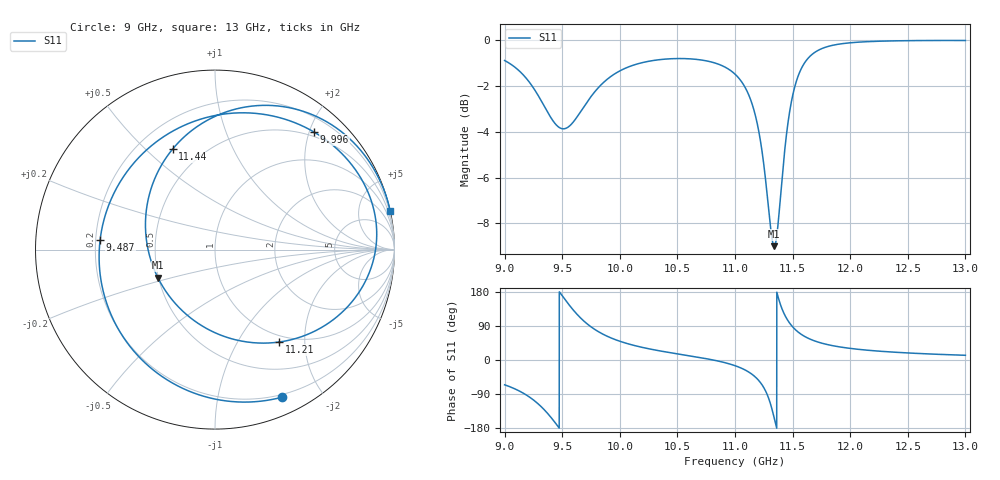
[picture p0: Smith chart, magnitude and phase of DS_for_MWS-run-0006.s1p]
! TOUCHSTONE file generated by CST DESIGN STUDIO
! Date and time: Tue Feb  4 17:41:40 2025
! Project name: C:\Work\MatlabApps\UnitCellOptimizationMatlab\CST\unitcell.cst
! Tree item: Tasks\Sweep1\SPara1\S-Parameters
! Header version: 2024
! Port assignment regex: !\s*Touchstone port\s*([0-9]+)\s*=\s*(CST MWS port|CST DES external port|CST DES block port)\s*(.+)\s* \(\"(.*)\"\)(\s*mode\s*([0-9]+))?.*
! Touchstone port assignment:
! Touchstone port 1 = CST DES external port 1 ("")
# GHz S MA R 50
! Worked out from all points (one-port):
!   4001 points, 9 GHz to 13 GHz, reference 50 ohm
!   lowest |S11| = -9.0 dB at 11.34 GHz (marker M1), VSWR 2.10, Z = 24.8 - j8.88 ohm
!   |S11| at or under -10 dB: nowhere
!   S11 on the Smith chart (normalised r, x): 9 GHz: 0.17, -1.54; 9.487 GHz: 0.22, +0.04; 9.996 GHz: 0.42, +2.08; 11.21 GHz: 0.90, -1.52; 11.44 GHz: 0.34, +0.61; 13 GHz: 0.03, +9.18
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9  0.9036 -65.4
9.156  0.8434 -86.5
9.268  0.7745 -109.7
9.394  0.6825 -148.3
9.487  0.6423 175.0
9.5  0.6408 169.6
9.606  0.6676 128.4
9.705  0.7263 98.3
9.849  0.8046 68.9
9.996  0.8564 49.9
10  0.8574 49.5
10.215  0.8962 31.9
10.5  0.9124 16.2
10.797  0.8965 0.8
11  0.8435 -15.0
11.118  0.7611 -31.5
11.209  0.6274 -55.1
11.279  0.4601 -90.8
11.341  0.3547 -153.8
11.389  0.4375 151.3
11.442  0.6077 112.9
11.5  0.7562 87.6
11.59  0.8811 64.8
11.69  0.9404 50.5
11.82  0.9717 39.5
12  0.9878 30.6
12.5  0.9985 18.6
13  0.9993 12.4
